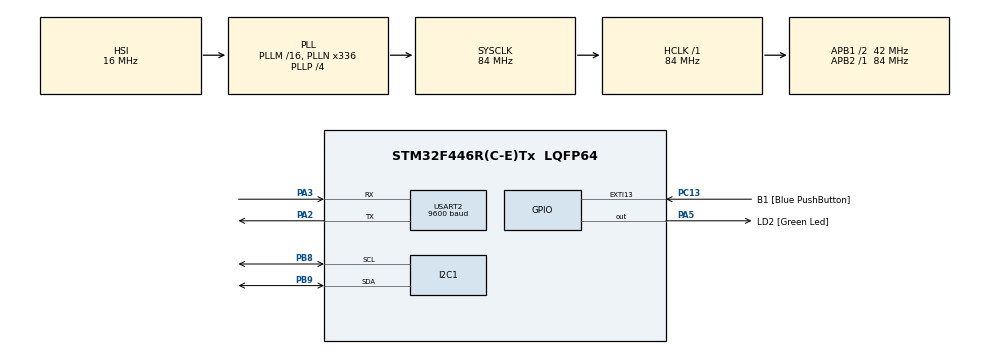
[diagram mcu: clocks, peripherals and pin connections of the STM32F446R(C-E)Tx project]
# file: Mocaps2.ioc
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I2C1.I2C_Mode=I2C_Standard
Mcu.Family=STM32F4
Mcu.Name=STM32F446R(C-E)Tx
Mcu.Package=LQFP64
NVIC.PriorityGroup=NVIC_PRIORITYGROUP_0
PA13.GPIO_Label=TMS
PA13.Mode=Serial_Wire
PA13.Signal=SYS_JTMS-SWDIO
PA14.GPIO_Label=TCK
PA14.Mode=Serial_Wire
PA14.Signal=SYS_JTCK-SWCLK
PA2.Mode=Asynchronous
PA2.Signal=USART2_TX
PA3.Mode=Asynchronous
PA3.Signal=USART2_RX
PA5.GPIO_Label=LD2 [Green Led]
PA5.Signal=GPIO_Output
PB3.GPIO_Label=SWO
PB3.Signal=SYS_JTDO-SWO
PB8.Mode=I2C
PB8.Signal=I2C1_SCL
PB9.Mode=I2C
PB9.Signal=I2C1_SDA
PC13.GPIO_Label=B1 [Blue PushButton]
PC13.GPIO_ModeDefaultEXTI=GPIO_MODE_IT_FALLING
PC13.Signal=GPXTI13
PC14-OSC32_IN.Mode=LSE-External-Oscillator
PC14-OSC32_IN.Signal=RCC_OSC32_IN
PC15-OSC32_OUT.Mode=LSE-External-Oscillator
PC15-OSC32_OUT.Signal=RCC_OSC32_OUT
PH0-OSC_IN.Mode=HSE-External-Oscillator
PH0-OSC_IN.Signal=RCC_OSC_IN
PH1-OSC_OUT.Mode=HSE-External-Oscillator
PH1-OSC_OUT.Signal=RCC_OSC_OUT
ProjectManager.HeapSize=0x200
ProjectManager.StackSize=0x400
ProjectManager.TargetToolchain=STM32CubeIDE
RCC.48MHZClocksFreq_Value=84000000
RCC.AHBFreq_Value=84000000
RCC.APB1CLKDivider=RCC_HCLK_DIV2
RCC.APB1Freq_Value=42000000
RCC.APB1TimFreq_Value=84000000
RCC.APB2Freq_Value=84000000
RCC.APB2TimFreq_Value=84000000
RCC.CortexFreq_Value=84000000
RCC.FLatency-AdvancedSettings=FLASH_LATENCY_2
RCC.HCLKFreq_Value=84000000
RCC.HSE_VALUE=8000000
RCC.HSI_VALUE=16000000
RCC.PLLN=336
RCC.PLLP=RCC_PLLP_DIV4
RCC.SYSCLKFreq_VALUE=84000000
RCC.SYSCLKSource=RCC_SYSCLKSOURCE_PLLCLK
RCC.USBFreq_Value=168000000
RCC.VCOOutputFreq_Value=336000000
USART2.BaudRate=9600
USART2.VirtualMode=VM_ASYNC
board=NUCLEO-F446RE

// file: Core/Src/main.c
/* USER CODE BEGIN Header */
/**
  ******************************************************************************
  * @file           : main.c
  * @brief          : Main program body
  ******************************************************************************
  * @attention
  *
  * Copyright (c) 2021 STMicroelectronics.
  * All rights reserved.
  *
  * This software is licensed under terms that can be found in the LICENSE file
  * in the root directory of this software component.
  * If no LICENSE file comes with this software, it is provided AS-IS.
  *
  ******************************************************************************
  */
/* USER CODE END Header */
#include "main.h"

/* USER CODE BEGIN Includes */
#include "I2Cdev.h"
#include "C:/Users/ADMIN/STM32CubeIDE/workspace_1.4.0/Mocaps/Core/Inc/MPU6050.h"
#include "stdio.h"
#include "math.h"
/* USER CODE END Includes */

/* USER CODE BEGIN PTD */
float gyroCoef = 0.02;
float accCoef = 0.98;
char temp[9], temp1[9];
int cx, cy;
/* USER CODE END PTD */

I2C_HandleTypeDef hi2c1;

UART_HandleTypeDef huart2;

/* USER CODE BEGIN PV */
int _write(int file, char *ptr, int len)
  {
	  int i=0;
	  for (i = 0; i < len; i++)
	  {
		  ITM_SendChar(*ptr++);
	  }
	  return len;
  }
/* USER CODE END PV */

void SystemClock_Config(void);
static void MX_GPIO_Init(void);
static void MX_I2C1_Init(void);
static void MX_USART2_UART_Init(void);

/* USER CODE BEGIN 0 */
void getAngle()
{
	angleAccX = atan2(ay, sqrt(az * az + ax * ax)) * 360 / 2.0 / M_PI;
	angleAccY = atan2(ax, sqrt(az * az + ay * ay)) * 360 / -2.0 / M_PI;

	float gyroX = ((float)gx) / 65.5;
	float gyroY = ((float)gy) / 65.5;
	float gyroZ = ((float)gz) / 65.5;

	interval = ((double)HAL_GetTick() - preInterval) * 0.001;

	angleGyroX += gyroX * interval;
	angleGyroY += gyroY * interval;
	angleGyroZ += gyroZ * interval;

	AngleX = (gyroCoef * (AngleX + gyroX * interval)) + (accCoef * angleAccX);
	AngleY = (gyroCoef * (AngleY + gyroY * interval)) + (accCoef * angleAccY);
	AngleZ = angleGyroZ;

	preInterval = (double)HAL_GetTick();
}

//void MPU6050_getMotion(Sensor which_sensor)
//{
//	set(which_sensor);
//	MPU6050_getMotion6(&ax[which_sensor], &ay[which_sensor], &az[which_sensor], &gx[which_sensor], &gy[which_sensor], &gz[which_sensor]);
//}

//void MPU6050_init(Sensor which_sensor)
//{
//	if (which_sensor == ALLSENSORS)
//	{
//		set(PALM_LEFT);
//		while(!MPU6050_testConnection())
//				  {
//					  printf("Something is wrong with PALM_LEFT sensor\n");
//				  }
//		MPU6050_initialize();
//		HAL_Delay(10);
//		set(WRIST_LEFT);
//		while(!MPU6050_testConnection())
//					{
//						printf("Something is wrong with WRIST_LEFT sensor\n");
//					}
//		MPU6050_initialize();
//		HAL_Delay(10);
//	}
//	else
//	{
//		set(which_sensor);
//		MPU6050_initialize();
//		HAL_Delay(10);
//		while(!MPU6050_testConnection())
//			{
//				printf("Something is wrong with sensor %d\n", (int)which_sensor);
//			}
//	}
//}
//
//void set(Sensor which_sensor)
//{
//	if (which_sensor == PALM_LEFT)
//	{
//		HAL_GPIO_WritePin(PALM_LEFT_Port, PALM_LEFT_Pin, GPIO_PIN_RESET);
//		HAL_GPIO_WritePin(WRIST_LEFT_Port, WRIST_LEFT_Pin, GPIO_PIN_SET);
//	}
//	else if (which_sensor == WRIST_LEFT)
//	{
//		HAL_GPIO_WritePin(PALM_LEFT_Port, PALM_LEFT_Pin, GPIO_PIN_SET);
//		HAL_GPIO_WritePin(WRIST_LEFT_Port, WRIST_LEFT_Pin, GPIO_PIN_RESET);
//	}
//	else{
//		printf("You can't communicate with all the sensors at the same time");
//	}
//}
/* USER CODE END 0 */

int main(void)
{

  /* MCU Configuration--------------------------------------------------------*/

  /* Reset of all peripherals, Initializes the Flash interface and the Systick. */

	HAL_Init();

  /* Configure the system clock */
  SystemClock_Config();

  /* Initialize all configured peripherals */
  MX_GPIO_Init();
  MX_I2C1_Init();
  MX_USART2_UART_Init();
  /* USER CODE BEGIN 2 */
  I2Cdev_init(&hi2c1);
  MPU6050_initialize();
  while(!MPU6050_testConnection())
  			{
  				printf("NOthing is wrong with the gyroscope");
  			}
  /* USER CODE END 2 */

  /* Infinite loop */
  /* USER CODE BEGIN WHILE */
  while (1)
  {
	  MPU6050_getMotion6(&ax, &ay, &az, &gx, &gy, &gz);
	  getAngle();
	  cx = snprintf(temp, sizeof(temp), "%.2f\r\n", AngleX/90);
	  HAL_UART_Transmit(&huart2, (uint8_t *) temp, strlen(temp), HAL_MAX_DELAY);
	  printf("%d",strlen(temp));

	  HAL_Delay(20);
    /* USER CODE END WHILE */

  }
}

void SystemClock_Config(void)
{
  RCC_OscInitTypeDef RCC_OscInitStruct = {0};
  RCC_ClkInitTypeDef RCC_ClkInitStruct = {0};

  /** Configure the main internal regulator output voltage
  */
  __HAL_RCC_PWR_CLK_ENABLE();
  __HAL_PWR_VOLTAGESCALING_CONFIG(PWR_REGULATOR_VOLTAGE_SCALE3);
  /** Initializes the RCC Oscillators according to the specified parameters
  * in the RCC_OscInitTypeDef structure.
  */
  RCC_OscInitStruct.OscillatorType = RCC_OSCILLATORTYPE_HSI;
  RCC_OscInitStruct.HSIState = RCC_HSI_ON;
  RCC_OscInitStruct.HSICalibrationValue = RCC_HSICALIBRATION_DEFAULT;
  RCC_OscInitStruct.PLL.PLLState = RCC_PLL_ON;
  RCC_OscInitStruct.PLL.PLLSource = RCC_PLLSOURCE_HSI;
  RCC_OscInitStruct.PLL.PLLM = 16;
  RCC_OscInitStruct.PLL.PLLN = 336;
  RCC_OscInitStruct.PLL.PLLP = RCC_PLLP_DIV4;
  RCC_OscInitStruct.PLL.PLLQ = 2;
  RCC_OscInitStruct.PLL.PLLR = 2;
  if (HAL_RCC_OscConfig(&RCC_OscInitStruct) != HAL_OK)
  {
    Error_Handler();
  }
  /** Initializes the CPU, AHB and APB buses clocks
  */
  RCC_ClkInitStruct.ClockType = RCC_CLOCKTYPE_HCLK|RCC_CLOCKTYPE_SYSCLK
                              |RCC_CLOCKTYPE_PCLK1|RCC_CLOCKTYPE_PCLK2;
  RCC_ClkInitStruct.SYSCLKSource = RCC_SYSCLKSOURCE_PLLCLK;
  RCC_ClkInitStruct.AHBCLKDivider = RCC_SYSCLK_DIV1;
  RCC_ClkInitStruct.APB1CLKDivider = RCC_HCLK_DIV2;
  RCC_ClkInitStruct.APB2CLKDivider = RCC_HCLK_DIV1;

  if (HAL_RCC_ClockConfig(&RCC_ClkInitStruct, FLASH_LATENCY_2) != HAL_OK)
  {
    Error_Handler();
  }
}

static void MX_I2C1_Init(void)
{

  hi2c1.Instance = I2C1;
  hi2c1.Init.ClockSpeed = 100000;
  hi2c1.Init.DutyCycle = I2C_DUTYCYCLE_2;
  hi2c1.Init.OwnAddress1 = 0;
  hi2c1.Init.AddressingMode = I2C_ADDRESSINGMODE_7BIT;
  hi2c1.Init.DualAddressMode = I2C_DUALADDRESS_DISABLE;
  hi2c1.Init.OwnAddress2 = 0;
  hi2c1.Init.GeneralCallMode = I2C_GENERALCALL_DISABLE;
  hi2c1.Init.NoStretchMode = I2C_NOSTRETCH_DISABLE;
  if (HAL_I2C_Init(&hi2c1) != HAL_OK)
  {
    Error_Handler();
  }

}

static void MX_USART2_UART_Init(void)
{

  huart2.Instance = USART2;
  huart2.Init.BaudRate = 9600;
  huart2.Init.WordLength = UART_WORDLENGTH_8B;
  huart2.Init.StopBits = UART_STOPBITS_1;
  huart2.Init.Parity = UART_PARITY_NONE;
  huart2.Init.Mode = UART_MODE_TX_RX;
  huart2.Init.HwFlowCtl = UART_HWCONTROL_NONE;
  huart2.Init.OverSampling = UART_OVERSAMPLING_16;
  if (HAL_UART_Init(&huart2) != HAL_OK)
  {
    Error_Handler();
  }

}

static void MX_GPIO_Init(void)
{
  GPIO_InitTypeDef GPIO_InitStruct = {0};

  /* GPIO Ports Clock Enable */
  __HAL_RCC_GPIOC_CLK_ENABLE();
  __HAL_RCC_GPIOH_CLK_ENABLE();
  __HAL_RCC_GPIOA_CLK_ENABLE();
  __HAL_RCC_GPIOB_CLK_ENABLE();

  /*Configure GPIO pin Output Level */
  HAL_GPIO_WritePin(LD2_GPIO_Port, LD2_Pin, GPIO_PIN_RESET);

  /*Configure GPIO pin : B1_Pin */
  GPIO_InitStruct.Pin = B1_Pin;
  GPIO_InitStruct.Mode = GPIO_MODE_IT_FALLING;
  GPIO_InitStruct.Pull = GPIO_NOPULL;
  HAL_GPIO_Init(B1_GPIO_Port, &GPIO_InitStruct);

  /*Configure GPIO pin : LD2_Pin */
  GPIO_InitStruct.Pin = LD2_Pin;
  GPIO_InitStruct.Mode = GPIO_MODE_OUTPUT_PP;
  GPIO_InitStruct.Pull = GPIO_NOPULL;
  GPIO_InitStruct.Speed = GPIO_SPEED_FREQ_LOW;
  HAL_GPIO_Init(LD2_GPIO_Port, &GPIO_InitStruct);

}

void Error_Handler(void)
{
  __disable_irq();
  while (1)
  {
  }
}
